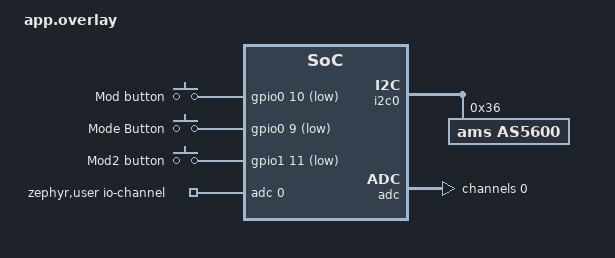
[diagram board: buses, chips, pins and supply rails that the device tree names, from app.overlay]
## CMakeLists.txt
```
# SPDX-License-Identifier: Apache-2.0

cmake_minimum_required(VERSION 3.20.0)

find_package(Zephyr REQUIRED HINTS $ENV{ZEPHYR_BASE})
project(knob)

include(${ZEPHYR_BASE}/samples/subsys/usb/common/common.cmake)
target_sources(app PRIVATE
    src/main.c
    src/hid.c
    src/as5600.c
    src/bluetooth.c
)
```

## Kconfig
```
# Copyright 2023 Google LLC
# SPDX-License-Identifier: Apache-2.0
source "${ZEPHYR_BASE}/samples/subsys/usb/common/Kconfig.sample_usbd"
mainmenu "Bluetooth: Peripheral HIDs"

config SAMPLE_BT_USE_AUTHENTICATION
	bool "Enable passkey authentication"
	default y
	help
	  Enable the passkey authentication callback and register the GATT
	  read and write attributes as authentication required.

config KNOBLET_BT_CLEAR_BONDS_ON_START
	bool "force clear bluetooth bonds"
	default n

config KNOBLET_SAVE_MADE_STATE
	bool "save the current mode state to persist on restart"
	default n

config KNOBLET_ENABLE_MACRO_MODE
	bool "enable a 3rd mode state for macro integration (requires the desktop app)"
	default n

source "Kconfig.zephyr"
```

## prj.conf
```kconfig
# Increased stack due to settings API usage
CONFIG_SYSTEM_WORKQUEUE_STACK_SIZE=4096
CONFIG_BT_RX_STACK_SIZE=4096


# Bluetooth
CONFIG_BT=y
CONFIG_BT_SMP=y
CONFIG_BT_SMP_SC_PAIR_ONLY=n
CONFIG_BT_SMP_APP_PAIRING_ACCEPT=y
CONFIG_BT_SMP_ENFORCE_MITM=n

CONFIG_BT_PERIPHERAL=y

CONFIG_BT_DIS=y
CONFIG_BT_DIS_PNP_PID=0x615E
CONFIG_BT_DIS_PNP_VID=0x1D50
CONFIG_BT_DIS_MODEL_NUMBER=y
CONFIG_BT_DIS_MANUF_NAME_STR="Knoblet"

CONFIG_BT_BAS=y
CONFIG_BT_DEVICE_NAME="Knoblet"
CONFIG_BT_DEVICE_APPEARANCE=962

CONFIG_BT_MAX_PAIRED=5
CONFIG_BT_KEYS_OVERWRITE_OLDEST=y
CONFIG_BT_BONDABLE=y
CONFIG_BT_PRIVACY=n

CONFIG_BT_PERIPHERAL_PREF_MIN_INT=6
CONFIG_BT_PERIPHERAL_PREF_MAX_INT=12
CONFIG_BT_PERIPHERAL_PREF_LATENCY=0
CONFIG_BT_PERIPHERAL_PREF_TIMEOUT=400

CONFIG_BT_GATT_CACHING=y
CONFIG_BT_GATT_SERVICE_CHANGED=y

CONFIG_KNOBLET_BT_CLEAR_BONDS_ON_START=n


# Logging
CONFIG_LOG=y
CONFIG_LOG_DEFAULT_LEVEL=3
CONFIG_LOG_MAX_LEVEL=3


# Settings
CONFIG_BT_SETTINGS=y
CONFIG_FLASH=y
CONFIG_FLASH_MAP=y
CONFIG_NVS=y
CONFIG_SETTINGS=y


# Gpio
CONFIG_GPIO=y
CONFIG_INPUT=y


# fix bootloader offset
CONFIG_FLASH_LOAD_OFFSET=0x1000
CONFIG_BOARD_HAS_NRF5_BOOTLOADER=y
CONFIG_USE_DT_CODE_PARTITION=n


# AS5600 sensor
CONFIG_SENSOR=y
CONFIG_AMS_AS5600=y
CONFIG_I2C=y


# Battery
CONFIG_ADC=y
CONFIG_ADC_NRFX_SAADC=y


# Power Management
CONFIG_BT_CTLR_TX_PWR_MINUS_20=y
CONFIG_PM=y
CONFIG_PM_DEVICE=y


# Debug
CONFIG_FAULT_DUMP=2


# Macro mode
CONFIG_KNOBLET_ENABLE_MACRO_MODE=y
```

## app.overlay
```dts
/ {
	hid_dev_0: hid_dev_0 {
		compatible = "zephyr,hid-device";
		label = "HID0";
		protocol-code = "none";
		in-polling-period-us = <1000>;
		in-report-size = <64>;
	};

	gpio_keys {
		compatible = "gpio-keys";

		button0: button_0 {
			label = "Mod button";
			gpios = <&gpio0 10 (GPIO_PULL_UP | GPIO_ACTIVE_LOW)>;
			zephyr,code = <INPUT_KEY_0>;
		};

		button1: button_1 {
			label = "Mode Button";
			gpios = <&gpio0 9 (GPIO_PULL_UP | GPIO_ACTIVE_LOW)>;
			zephyr,code = <INPUT_KEY_1>;
		};

		button2: button_2 {
			label = "Mod2 button";
			gpios = <&gpio1 11 (GPIO_PULL_UP | GPIO_ACTIVE_LOW)>;
			zephyr,code = <INPUT_KEY_2>;
		};
	};

	zephyr,user {
		io-channels = <&adc 0>;
	};
};

&i2c0 {
	status = "okay";
	
	as5600@36 {
		compatible = "ams,as5600";
		reg = <0x36>;
	};
};

&adc {
	#address-cells = <1>;
	#size-cells = <0>;

	channel@0 {
		reg = <0>;
		zephyr,gain = "ADC_GAIN_1_6";
		zephyr,reference = "ADC_REF_INTERNAL";
		zephyr,acquisition-time = <ADC_ACQ_TIME_DEFAULT>;
		zephyr,input-positive = <NRF_SAADC_VDDHDIV5>;
		zephyr,resolution = <12>;
	};
};
```

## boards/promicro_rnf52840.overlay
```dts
&i2c0 {
	status = "okay";
	
	as5600@36 {
		compatible = "ams,as5600";
		reg = <0x36>;
	};
};
```

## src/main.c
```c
#include <zephyr/sys/printk.h>
#include <zephyr/device.h>
#include <zephyr/drivers/regulator.h>
#include <zephyr/input/input.h>
#include <zephyr/settings/settings.h>
#include <zephyr/drivers/gpio.h>
#include <zephyr/kernel.h>

#include "main.h"
#include "hid.h"
#include "bt.h"
#include "as5600.h"
#include "battery.h"
#include "zephyr/init.h"
#include "zephyr/logging/log.h"


static void scroll_action(int16_t angle);
static void media_action(int16_t angle);
#if defined CONFIG_KNOBLET_ENABLE_MACRO_MODE
static void macro_action(int8_t button_idx, int8_t button_state, int16_t angle);
#endif
static void button_input_cb(struct input_event *evt, void *user_data);
static void trigger_media_event(uint16_t media_event);
static void init_settings();
static void submit_report(const char *trigger_name, const uint16_t size, const uint8_t *const report);


int current_mode = MODE_SCROLL;
int mod_btn_pressed = 0;

int64_t last_seek_time = 0;
int64_t last_mod_up_time = 0;


devices device_state = {
	.as5600 = DEVICE_DT_GET_ANY(ams_as5600),
};

static const struct gpio_dt_spec vcc_enable = {
    .port = DEVICE_DT_GET(DT_NODELABEL(gpio0)),
    .pin = 13,
    .dt_flags = GPIO_ACTIVE_HIGH,
};


LOG_MODULE_REGISTER(main, LOG_LEVEL_DBG);
INPUT_CALLBACK_DEFINE(NULL, button_input_cb, NULL);


SYS_INIT(bt_init, APPLICATION, 1);


int main(void)
{
	int err;

	gpio_pin_configure_dt(&vcc_enable, GPIO_OUTPUT_ACTIVE);

#if defined CONFIG_KNOBLET_SAVE_MODE_STATE
	init_settings();
#endif

	err = init_battery_level();
	if (err) {
		LOG_ERR("Failed to init battery report loop");
	}

	err = as5600_init(device_state.as5600);
	if (err != 0) {
		return err;
	}

	while (true) {
		if (as5600_jitter_compensation_enabled()) {
			k_msleep(AS5600_JITTER_DELAY_MS);
		} else {
			k_msleep(current_mode == MODE_SCROLL ? SCROLL_POLL_DELAY : MEDIA_POLL_DELAY);
		}

		int16_t angle = as5600_read(device_state.as5600);

		switch (current_mode) {
		case MODE_SCROLL:
			scroll_action(angle);
			break;
		case MODE_MEDIA:
			media_action(angle);
			break;
#if defined CONFIG_KNOBLET_ENABLE_MACRO_MODE
		case MODE_MACRO:
			macro_action(0, 0, angle);
			break;
#endif
		};
	}

	return 0;
}


static void init_settings()
{
	int size = settings_load_one(SETTINGS_MODE, &current_mode, sizeof(current_mode));
	current_mode %= MODE_COUNT;

	if (size < 0) {
		LOG_ERR("failed to load mode from settings");
	}
}


/**
 * @brief scroll_action handles sending an angle event to the host when in scroll mode
 *
 * @param[in] angle the angle of change
 */
static void scroll_action(int16_t angle)
{
	if (angle == 0) {
		return;
	}

	uint8_t report[MOUSE_REPORT_SIZE] = {0};
	report[MOUSE_REPORT_IDX] = MOUSE_REPORT_ID;
	report[MOUSE_ANGLE_IDX] = angle;

	submit_report("hid scroll", MOUSE_REPORT_SIZE, report);
}


/**
 * @brief media_action handles sending an angle event to the host when in media mode
 *
 * @param[in] angle the angle of change
 */
static void media_action(int16_t angle)
{
	uint8_t report[MEDIA_REPORT_SIZE];
	report[MEDIA_REPORT_IDX] = MEDIA_REPORT_ID;
	
	if (angle == 0) {
		return;
	}

	// After we skip the track we want to debounce for a short period so we
	// don't accidentally skip multiple tracks or change the volume as we
	// release the press.
	// The debounce time is purely set based on when the skip happens.
	int64_t now = k_uptime_get();
	if (now < last_seek_time + MEDIA_DEBOUNCE_TIME) {
		if (mod_btn_pressed) {
			last_seek_time = now;
		}
		return;
	}

	if (mod_btn_pressed) {
		last_seek_time = now;

		trigger_media_event(angle > 0
			? HID_MEDIA_SCAN_NEXT
			: HID_MEDIA_SCAN_PREV
		);
		return;
	}

	trigger_media_event(angle > 0
		? HID_MEDIA_VOL_UP
		: HID_MEDIA_VOL_DONW
	);
}


#if defined CONFIG_KNOBLET_ENABLE_MACRO_MODE
/**
 * @brief macro_action handles sending all input to the desktop application when in macro mode
 *
 * @param[in] button_idx the current button being pressed/released (0 = no button)
 * @param[in] button_state the current state of the button in question
 * @param[in] angle the angle of change
 */
static void macro_action(int8_t button_idx, int8_t button_state, int16_t angle)
{
	if (angle == 0 && button_idx == 0) {
		return;
	}

	uint8_t report[MACRO_REPORT_SIZE];
	report[MACRO_REPORT_IDX] = MACRO_REPORT_ID;
	report[MACRO_KEY_IDX] = button_idx;
	report[MACRO_KEY_STATE_IDX] = button_state;
	report[MACRO_ANGLE_HIGH_IDX] = angle >> 8;
	report[MACRO_ANGLE_LOW_IDX] = angle & 0xFF;


	LOG_INF("macro angle %d", angle);
	submit_report("macro", MACRO_REPORT_SIZE, report);
}
#endif


/**
 * @brief button_input_cb hadles button presses when the evnt is sent from the zephyr
 *        input subsystem
 *
 * @param[in] evt the input event
 * @param[in] user_data the user data for the event
 */
static void button_input_cb(struct input_event *evt, void *user_data)
{
	LOG_INF("button pressed %d", evt->code);

	if (evt->sync == 0) {
		return;
	}

	if (evt->code == BTN_MODE_CODE) {
		if (evt->value != 0) {
			return;
		}

		current_mode = (current_mode + 1) % MODE_COUNT;

	#if defined CONFIG_KNOBLET_SAVE_MODE_STATE
		int err = settings_save_one(SETTINGS_MODE, &current_mode, sizeof(current_mode));
		if (err != 0) {
			LOG_ERR("Failed to save mode to settings");
		}
	#endif

		LOG_INF("Set mode to %s", current_mode == MODE_SCROLL ? "scroll" : "media");
		return;
	}

	if (evt->code != BTN_MOD_CODE && evt->code != BTN_MOD2_CODE) {
		return;
	}

	mod_btn_pressed = evt->value;
	switch (current_mode) {
	case MODE_MEDIA:
		if (evt->value) {
			return;
		}

		int64_t now = k_uptime_get();
		if (last_mod_up_time + MEDIA_DOUBLE_TAP_INTERVAL > now) {
			last_mod_up_time = 0;

			trigger_media_event(HID_MEDIA_PLAY_PAUSE);
			return;
		}

		last_mod_up_time = now;
		break;

	case MODE_SCROLL:
		uint8_t report[KEEB_REPORT_SIZE] = {0};
		report[KEEB_REPORT_IDX] = KEEB_REPORT_ID;
		report[KEEB_MODIFIER_IDX] = evt->value
			? HID_KBD_MODIFIER_LEFT_CTRL
			: HID_KBD_MODIFIER_NONE;

		submit_report("hid keeyboard",KEEB_REPORT_SIZE, report);
		break;

#if defined CONFIG_KNOBLET_ENABLE_MACRO_MODE
	case MODE_MACRO:
		macro_action(evt->code, evt->value, 0);
		break;
#endif
	}
}


/**
 * @brief submit_report submits a HID report to the host via the bluetooth subsystem
 *
 * @param[in] trigger_name display name for the log
 * @param[in] size the report size
 * @param[in] report the report data
 */
static void submit_report(
	const char *trigger_name,
	const uint16_t size,
	const uint8_t *const report
) {
	if (!bt_connected()) {
		return;
	}

	int err = bt_submit_report(size, report);
	if (err) {
		LOG_ERR("failed to send %s event: %d", trigger_name, err);
		return;
	}

	LOG_DBG("%s event sent", trigger_name);
}


/**
 * @brief trigger_media_event builds and sends a HID media event to the bluetooth
*         subsystem for both the keydown and keyup states
 *
 * @param[in] media_event the media event type to be triggered
 */
static void trigger_media_event(uint16_t media_event)
{
	uint8_t report[MEDIA_REPORT_SIZE] = {0};
	report[MEDIA_REPORT_IDX] = MEDIA_REPORT_ID;
	report[MEDIA_ACTION_LOW_IDX]  = media_event & 0xFF;
	report[MEDIA_ACTION_HIGH_IDX] = media_event >> 8;

	submit_report("media down", MEDIA_REPORT_SIZE, report);

	k_msleep(1);

	report[MEDIA_ACTION_LOW_IDX]  = 0;
	report[MEDIA_ACTION_HIGH_IDX] = 0;

	submit_report("media up", MEDIA_REPORT_SIZE, report);
}
```

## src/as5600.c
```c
#include "as5600.h"

#include <zephyr/drivers/sensor.h>
#include <zephyr/logging/log.h>


LOG_MODULE_REGISTER(as5600, LOG_LEVEL_DBG);


int16_t prev_pos;
int16_t prev_delta;
int16_t jitter_count;


int as5600_read(const struct device *dev)
{
	int err = sensor_sample_fetch(dev);
	if (err) {
		LOG_DBG("Sample fetch failed: %d", err);
		return 0;
	}

	struct as5600_dev_data *dev_data = dev->data;
	int16_t delta = dev_data->position - prev_pos;
	prev_pos = dev_data->position;

	if (delta > 2048) {
		delta -= 4096;
	} else if (delta < -2048) {
		delta += 4096;
	}

#if defined AS5600_JITTER_COMPENSATION
	if (delta == 0) {
		return 0;
	}

	if (as5600_jitter_compensation_enabled()) {
		if (delta <= AS5600_JITTER_DEAD_ZONE && delta >= -AS5600_JITTER_DEAD_ZONE) {
			LOG_DBG("jitter compensated");
			return 0;
		}

		jitter_count = 0;

	#if defined AS5600_JITTER_POST_RESULT
		return delta > 0
			? AS5600_JITTER_POST_RESULT
			: -AS5600_JITTER_POST_RESULT;
	#endif
	}

	if (prev_delta == -delta) {
		jitter_count++;
	}
#endif

#if defined AS5600_DEAD_ZONE
	if (delta <= AS5600_DEAD_ZONE && delta >= -AS5600_DEAD_ZONE) {
		LOG_DBG("DEAD ZONE %d", delta);
		return 0;
	}
#endif

	prev_delta = delta;

	return delta;
}


int as5600_init(const struct device* dev) {
	if (dev == NULL) {
		LOG_ERR("AS5600 not found");
		return -ENODEV;
	}

	LOG_DBG("AS5600 found");

	// setup the rotation sensor
	if (!device_is_ready(dev)) {
		LOG_ERR("AS5600 not ready\n");
		return -EIO;
	}

	LOG_DBG("AS5600 ready");

	return 0;
}


bool as5600_jitter_compensation_enabled()
{
	return jitter_count >= AS5600_JITTER_THRESHOLD;
}
```

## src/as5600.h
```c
#pragma once


#include <zephyr/usb/usbd.h>


// In some cases if the magnet is not 100% aligned to the sensor then in some
// orientations the dial will output a steady stream of 1, -1, 1, -1
// Enabling JITTER_COMPENSATION will help to account for this
#define AS5600_JITTER_COMPENSATION
#define AS5600_JITTER_THRESHOLD 4
#define AS5600_JITTER_DEAD_ZONE 1
// the amount of time in ms to sleep between reads when jitter compensation is
// enabled this allows for a larger accumulation of angle to avoid jitter
// control being "sticky"
#define AS5600_JITTER_DELAY_MS 80
// when defined this will replace the accumulated value for the first return
// after jitter compensation is broken
// the sign used will come from the sign of the real accumulated value
#define AS5600_JITTER_POST_RESULT 1


// in the case where jitter control doesn't cut it we can set a deadzone
// any angle smaller <= the dead zone will be ignored
// its a far from ideal solution as it hinders the operation and makes
// the dial less sensitive
//#define AS5600_DEAD_ZONE 1


struct as5600_dev_data {
	int16_t position;
};


/**
 * @brief as5600_init initializes the sensor device
 *
 * @param[in] dev the device struct
 *
 * @return error code
 */
int as5600_init(const struct device* dev);

// Read the angle change from the sensor since the last read
/**
 * @brief as5600_read reads the angle change from the sensor since the last read
 *
 * @param[in] dev the device struct
 *
 * @return error code
 */
int as5600_read(const struct device *dev);

/**
 * @brief as5600_jitter_compensation_enabled returns the current state of jitter compensation
 *
 * @return the current jitter state
 */
bool as5600_jitter_compensation_enabled();
```

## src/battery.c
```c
#include <zephyr/kernel.h>
#include <zephyr/sys/util.h>
#include <zephyr/bluetooth/services/bas.h>
#include <zephyr/device.h>
#include <zephyr/drivers/adc.h>

#include "battery.h"


static void update_cb(struct k_work *work);
static int read_battery_percent();


static const struct adc_dt_spec adc_channel = ADC_DT_SPEC_GET(DT_PATH(zephyr_user));
static K_WORK_DELAYABLE_DEFINE(battery_update_work, update_cb);


int init_battery_level()
{
	int err = k_work_schedule(&battery_update_work, K_NO_WAIT);
	if (err <= 1) {
		return 0;
	}

	return err;
};


static void update_cb(struct k_work *work)
{
	int level = read_battery_percent();
	if (level >= 0) {
		bt_bas_set_battery_level(level);
	}

	k_work_schedule(&battery_update_work, K_SECONDS(BAS_POLL_INTERVAL_S));
}


static int read_battery_percent()
{
	int16_t sample;
	int32_t mv;

	struct adc_sequence seq = {
		.buffer = &sample,
		.buffer_size = sizeof(sample),
	};

	adc_sequence_init_dt(&adc_channel, &seq);
	adc_channel_setup_dt(&adc_channel);
	adc_read(adc_channel.dev, &seq);

	mv = sample;
	adc_raw_to_millivolts(adc_ref_internal(adc_channel.dev), ADC_GAIN_1_6, 12, &mv);
	mv *= BAS_VOLTAGE_DIVIDER;

	if (mv > BAS_USB_CONNECTED_MV) {
		return -1;
	}

	mv = CLAMP(mv, BAS_CLAMP_MIN, BAS_CLAMP_MAX);
	return (mv - BAS_CLAMP_MIN) * 100 / (BAS_CLAMP_MAX - BAS_CLAMP_MIN);
}
```

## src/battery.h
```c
#define BAS_CLAMP_MAX 4200
#define BAS_CLAMP_MIN 3000
#define BAS_USB_CONNECTED_MV 4400
#define BAS_VOLTAGE_DIVIDER 5
#define BAS_POLL_INTERVAL_S 300

/**
 * @brief init_battery_level initializes the periodic task to update the host with the devices battery level
 *
 * @return error code
 */
int init_battery_level();
```

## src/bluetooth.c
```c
#include "hid.h"

#include <zephyr/types.h>
#include <zephyr/drivers/gpio.h>
#include <stddef.h>
#include <string.h>
#include <zephyr/sys/printk.h>
#include <zephyr/sys/byteorder.h>
#include <zephyr/kernel.h>

#include <zephyr/settings/settings.h>
#include <zephyr/bluetooth/bluetooth.h>
#include <zephyr/bluetooth/hci.h>
#include <zephyr/bluetooth/conn.h>
#include <zephyr/bluetooth/uuid.h>
#include <zephyr/bluetooth/gatt.h>
#include <zephyr/logging/log.h>


LOG_MODULE_REGISTER(bluetooth, LOG_LEVEL_DBG);


enum {
	HIDS_REMOTE_WAKE = BIT(0),
	HIDS_NORMALLY_CONNECTABLE = BIT(1),
};


struct hids_info {
	uint16_t version; /* version number of base USB HID Specification */
	uint8_t code; /* country HID Device hardware is localized for. */
	uint8_t flags;
} __packed;

struct hids_report {
	uint8_t id; /* report id */
	uint8_t type; /* report type */
} __packed;

static struct hids_info info = {
	.version = 0x0000,
	.code = 0x00,
	.flags = HIDS_NORMALLY_CONNECTABLE,
};


enum {
	HIDS_INPUT = 0x01,
	HIDS_OUTPUT = 0x02,
	HIDS_FEATURE = 0x03,
};


static struct hids_report input = {
	.id = 0x01,
	.type = HIDS_INPUT,
};

static uint8_t simulate_input;
static uint8_t ctrl_point;
static bool is_connected;


static ssize_t read_info(
	struct bt_conn *conn,
	const struct bt_gatt_attr *attr,
	void *buf,
	uint16_t len,
	uint16_t offset
) {
	return bt_gatt_attr_read(conn, attr, buf, len, offset, attr->user_data, sizeof(struct hids_info));
}


static ssize_t read_report_map(
	struct bt_conn *conn,
	const struct bt_gatt_attr *attr,
	void *buf,
	uint16_t len,
	uint16_t offset
) {
	return bt_gatt_attr_read(conn, attr, buf, len, offset, hid_report_desc, sizeof(hid_report_desc));
}


static ssize_t read_report(
	struct bt_conn *conn,
	const struct bt_gatt_attr *attr,
	void *buf,
	uint16_t len,
	uint16_t offset
) {
	return bt_gatt_attr_read(conn, attr, buf, len, offset, attr->user_data, sizeof(struct hids_report));
}


static void input_ccc_changed(const struct bt_gatt_attr *attr, uint16_t value)
{
	simulate_input = (value == BT_GATT_CCC_NOTIFY) ? 1 : 0;
}


static ssize_t read_input_report(
	struct bt_conn *conn,
	const struct bt_gatt_attr *attr,
	void *buf,
	uint16_t len,
	uint16_t offset
) {
	return bt_gatt_attr_read(conn, attr, buf, len, offset, NULL, 0);
}


static ssize_t write_ctrl_point(
	struct bt_conn *conn,
	const struct bt_gatt_attr *attr,
	const void *buf, uint16_t len,
	uint16_t offset,
	uint8_t flags
) {
	uint8_t *value = attr->user_data;

	if (offset + len > sizeof(ctrl_point)) {
		return BT_GATT_ERR(BT_ATT_ERR_INVALID_OFFSET);
	}

	memcpy(value + offset, buf, len);

	return len;
}


#if CONFIG_SAMPLE_BT_USE_AUTHENTICATION
/* Require encryption using authenticated link-key. */
#define SAMPLE_BT_PERM_READ BT_GATT_PERM_READ_AUTHEN
#define SAMPLE_BT_PERM_WRITE BT_GATT_PERM_WRITE_AUTHEN
#else
/* Require encryption. */
#define SAMPLE_BT_PERM_READ BT_GATT_PERM_READ_ENCRYPT
#define SAMPLE_BT_PERM_WRITE BT_GATT_PERM_WRITE_ENCRYPT
#endif


/* HID Service Declaration */
BT_GATT_SERVICE_DEFINE(hog_svc,
	BT_GATT_PRIMARY_SERVICE(BT_UUID_HIDS),
	BT_GATT_CHARACTERISTIC(
		BT_UUID_HIDS_INFO,
		BT_GATT_CHRC_READ,
		BT_GATT_PERM_READ,
		read_info,
		NULL,
		&info
	),
	BT_GATT_CHARACTERISTIC(
		BT_UUID_HIDS_REPORT_MAP, BT_GATT_CHRC_READ,
		BT_GATT_PERM_READ,
		read_report_map,
		NULL,
		NULL
	),
	BT_GATT_CHARACTERISTIC(
		BT_UUID_HIDS_REPORT,
		BT_GATT_CHRC_READ | BT_GATT_CHRC_NOTIFY,
		SAMPLE_BT_PERM_READ,
		read_input_report,
		NULL,
		NULL
	),
	BT_GATT_CCC(
		input_ccc_changed,
		SAMPLE_BT_PERM_READ | SAMPLE_BT_PERM_WRITE
	),
	BT_GATT_DESCRIPTOR(
		BT_UUID_HIDS_REPORT_REF,
		BT_GATT_PERM_READ,
		read_report,
		NULL,
		&input
	),
	BT_GATT_CHARACTERISTIC(
		BT_UUID_HIDS_CTRL_POINT,
		BT_GATT_CHRC_WRITE_WITHOUT_RESP,
		BT_GATT_PERM_WRITE,
		NULL,
		write_ctrl_point,
		&ctrl_point
	),
);


static void hog_init()
{
}


static const struct bt_data ad[] = {
	BT_DATA_BYTES(BT_DATA_FLAGS, (BT_LE_AD_GENERAL | BT_LE_AD_NO_BREDR)),
	BT_DATA_BYTES(BT_DATA_UUID16_ALL,
		      BT_UUID_16_ENCODE(BT_UUID_HIDS_VAL),
		      BT_UUID_16_ENCODE(BT_UUID_BAS_VAL)),
};


static const struct bt_data sd[] = {
	BT_DATA(BT_DATA_NAME_COMPLETE, CONFIG_BT_DEVICE_NAME, sizeof(CONFIG_BT_DEVICE_NAME) - 1),
};


static void connected(struct bt_conn *conn, uint8_t err)
{
	if (err) {
		LOG_ERR("Failed to connect to %s, err 0x%02x %s\n",
			bt_conn_dst_str(conn),
			err,
			bt_hci_err_to_str(err)
	  	);
		return;
	}

	LOG_INF("Connected %s\n", bt_conn_dst_str(conn));

	if (bt_conn_set_security(conn, BT_SECURITY_L2)) {
		LOG_ERR("Failed to set security\n");
		is_connected = false;
	} else {
		is_connected = true;
	}
}


static void disconnected(struct bt_conn *conn, uint8_t reason)
{
	is_connected = false;

	LOG_INF("Disconnected from %s, reason 0x%02x %s\n",
		bt_conn_dst_str(conn),
		reason,
		bt_hci_err_to_str(reason)
	);
}


static void security_changed(
	struct bt_conn *conn,
	bt_security_t level,
	enum bt_security_err err
) {
	if (!err) {
		LOG_INF("Security changed: %s level %u\n", bt_conn_dst_str(conn), level);
	} else {
		LOG_ERR("Security failed: %s level %u err %s(%d)\n",
			bt_conn_dst_str(conn),
			level,
			bt_security_err_to_str(err),
			err
		);
	}
}


BT_CONN_CB_DEFINE(conn_callbacks) = {
	.connected = connected,
	.disconnected = disconnected,
	.security_changed = security_changed,
};


void bt_ready(int err)
{
	LOG_INF("Got to bt_ready");
	return;

	if (err) {
		LOG_ERR("Bluetooth init failed (err %d)\n", err);
		return;
	}

	LOG_INF("Bluetooth initialized\n");

	hog_init();

	if (IS_ENABLED(CONFIG_SETTINGS)) {
		settings_load();
	}

	err = bt_le_adv_start(BT_LE_ADV_CONN_FAST_1, ad, ARRAY_SIZE(ad), sd, ARRAY_SIZE(sd));
	if (err) {
		LOG_ERR("Advertising failed to start (err %d)\n", err);
		return;
	}

	LOG_INF("Advertising successfully started\n");
}


static void auth_passkey_display(struct bt_conn *conn, unsigned int passkey)
{
	LOG_INF("Passkey for %s: %06u\n", bt_conn_dst_str(conn), passkey);
}


static void auth_cancel(struct bt_conn *conn)
{
	LOG_INF("Pairing cancelled: %s\n", bt_conn_dst_str(conn));
}


static struct bt_conn_auth_cb auth_cb_display = {
	.passkey_display = auth_passkey_display,
	.passkey_entry = NULL,
	.cancel = auth_cancel,
};


void bt_register_auth()
{
	if (IS_ENABLED(CONFIG_SAMPLE_BT_USE_AUTHENTICATION)) {
		bt_conn_auth_cb_register(&auth_cb_display);
		printk("Bluetooth authentication callbacks registered.\n");
	}
}


bool bt_connected()
{
	return is_connected;
}

int bt_submit_report(const uint16_t size, const uint8_t *const report)
{
	return bt_gatt_notify(NULL, &hog_svc.attrs[5], report, sizeof(report));
}

int bt_init()
{
	LOG_INF("got to bt_init");
	int err = bt_enable(bt_ready);
	if (err != 0) {
		return err;
	}

	bt_register_auth();
	return 0;
}
```

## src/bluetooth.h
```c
#pragma once


#include <stdbool.h>
#include <stdint.h>


int bt_submit_report(const uint16_t size, const uint8_t *const report);
bool bt_connected();
int bt_init();
```

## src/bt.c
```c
#include <zephyr/types.h>
#include <stddef.h>
#include <string.h>
#include <zephyr/sys/printk.h>
#include <zephyr/sys/byteorder.h>
#include <zephyr/kernel.h>
#include <zephyr/settings/settings.h>
#include <zephyr/bluetooth/bluetooth.h>
#include <zephyr/bluetooth/hci.h>
#include <zephyr/bluetooth/conn.h>
#include <zephyr/bluetooth/uuid.h>
#include <zephyr/bluetooth/gatt.h>
#include <zephyr/bluetooth/services/bas.h>
#include <zephyr/logging/log.h>

#include "bt.h"
#include "hid.h"
#include "hog.h"
#include "zephyr/bluetooth/addr.h"


static void connected(struct bt_conn *conn, uint8_t err);
static void disconnected(struct bt_conn *conn, uint8_t reason);
static void bt_ready(int err);
static void auth_cancel(struct bt_conn *conn);
static void pairing_complete(struct bt_conn *conn, bool bonded);
static void pairing_failed(struct bt_conn *conn, enum bt_security_err reason);
static void security_changed(struct bt_conn *conn, bt_security_t level, enum bt_security_err err);
static void advertise();
static void advertise_worker_cb(struct k_work *work);
static void unpair_worker_cb(struct k_work *work);
static void le_param_updated(struct bt_conn *conn, uint16_t interval, uint16_t latency, uint16_t timeout);
static enum bt_security_err auth_pairing_accept(struct bt_conn *conn, const struct bt_conn_pairing_feat *const feat);
static int notify_report(struct bt_conn *conn, const struct bt_gatt_attr *attr, const void *data, uint16_t len);


LOG_MODULE_REGISTER(bluetooth, LOG_LEVEL_DBG);

K_WORK_DEFINE(advertise_worker, advertise_worker_cb);
K_WORK_DEFINE(unpair_worker, unpair_worker_cb);


static const struct bt_data ad[] = {
    BT_DATA_BYTES(BT_DATA_FLAGS, (BT_LE_AD_GENERAL | BT_LE_AD_NO_BREDR)),
    BT_DATA_BYTES(
        BT_DATA_GAP_APPEARANCE,
        (CONFIG_BT_DEVICE_APPEARANCE & 0xff),
        (CONFIG_BT_DEVICE_APPEARANCE >> 8)
    ),
    BT_DATA_BYTES(
        BT_DATA_UUID16_ALL,
        BT_UUID_16_ENCODE(BT_UUID_HIDS_VAL),
        BT_UUID_16_ENCODE(BT_UUID_BAS_VAL)
    ),
};

static const struct bt_data sd[] = {
	BT_DATA(
		BT_DATA_NAME_COMPLETE,
		CONFIG_BT_DEVICE_NAME,
		sizeof(CONFIG_BT_DEVICE_NAME) - 1
	),
};


static const bt_addr_le_t *unpair_addr;
static struct bt_conn *current_conn;
static bool is_connected;

struct bt_gatt_service_static hog_ctx;


static struct bt_conn_cb conn_cb = {
	.connected = connected,
	.disconnected = disconnected,
	.security_changed = security_changed,
	.le_param_updated = le_param_updated,
};

static struct bt_conn_auth_info_cb auth_info_cb = {
    .pairing_complete = pairing_complete,
    .pairing_failed = pairing_failed,
};

static struct bt_conn_auth_cb auth_cb_display = {
	.pairing_accept = auth_pairing_accept,
	.cancel = auth_cancel,
};


int bt_init()
{
	int err;

	err = bt_enable(bt_ready);
	if (err) {
		return err;
	}

    bt_conn_cb_register(&conn_cb);
    bt_conn_auth_cb_register(&auth_cb_display);
	bt_conn_auth_info_cb_register(&auth_info_cb);

	return 0;
}


bool bt_connected()
{
	return is_connected;
}


int bt_submit_report(const uint16_t size, const uint8_t *const report)
{
	if (!current_conn) {
		return -ENOTCONN;
	}

	uint8_t tmp[size - 1];
	memcpy(tmp, report + 1, size - 1);

	switch (report[0]) {
	case KEEB_REPORT_ID:
		return notify_report(current_conn, &hog_ctx.attrs[BT_KEEB_ATTR_IDX], tmp, size - 1);
	case MOUSE_REPORT_ID:
		return notify_report(current_conn, &hog_ctx.attrs[BT_MOUSE_ATTR_IDX], tmp, size - 1);
	case MEDIA_REPORT_ID:
		return notify_report(current_conn, &hog_ctx.attrs[BT_MEDIA_ATTR_IDX], tmp, size - 1);
	case MACRO_REPORT_ID:
		return notify_report(current_conn, &hog_ctx.attrs[BT_MACRO_ATTR_IDX], tmp, size - 1);
	}

	return 0;
}


static void connected(struct bt_conn *conn, uint8_t err)
{
	if (err) {
		LOG_ERR("Failed to connect to %s, err 0x%02x %s\n",
			bt_conn_dst_str(conn),
			err,
			bt_hci_err_to_str(err)
		);
		return;
	}

	LOG_INF("Connected %s\n", bt_conn_dst_str(conn));

	current_conn = bt_conn_ref(conn);
}


static void disconnected(struct bt_conn *conn, uint8_t reason)
{
	LOG_INF("Disconnected from %s, reason 0x%02x %s\n",
		bt_conn_dst_str(conn),
		reason,
		bt_hci_err_to_str(reason)
	);

	is_connected = false;

	if (current_conn) {
		bt_conn_unref(current_conn);
		current_conn = NULL;
	}

	k_work_submit(&advertise_worker);
}


static void security_changed(
	struct bt_conn *conn,
	bt_security_t level,
	enum bt_security_err err
) {
	if (err) {
		LOG_ERR("Security failed: level %u err=%d", level, (int)err);
		return;
	}

	LOG_INF("Security changed: %s level %u\n", bt_conn_dst_str(conn), level);
	if (level >= BT_SECURITY_L2) {
		is_connected = true;
	}
}


static void bt_ready(int err)
{
	if (err) {
		LOG_ERR("Bluetooth init failed (err %d)\n", err);
		return;
	}

	LOG_INF("Bluetooth initialized\n");

	if (IS_ENABLED(CONFIG_SETTINGS)) {
		settings_load();

#if defined(CONFIG_KNOBLET_BT_CLEAR_BONDS_ON_START)
		LOG_INF("clearing bt pairs");
		bt_unpair(BT_ID_DEFAULT, NULL);
#endif
	}

	hog_ctx = hog_init();

	advertise();
}


static void auth_cancel(struct bt_conn *conn)
{
	LOG_INF("Pairing cancelled: %s\n", bt_conn_dst_str(conn));
}


static void pairing_complete(struct bt_conn *conn, bool bonded)
{
    LOG_INF("Pairing completed. bonded=%d", bonded);
}


static void pairing_failed(struct bt_conn *conn, enum bt_security_err reason)
{
    LOG_ERR("Pairing failed. reason=%d", reason);

	if (reason != 4) {
		return;
	}

	unpair_addr = bt_conn_get_dst(conn);
	k_work_submit(&unpair_worker);
}


static void advertise()
{
	// Don't care if this fails
	bt_le_adv_stop();

	int err = bt_le_adv_start(BT_LE_ADV_CONN_FAST_1, ad, ARRAY_SIZE(ad), sd, ARRAY_SIZE(sd));
	if (err) {
		LOG_ERR("Advertising failed to start (err %d)\n", err);
		return;
	}

	LOG_INF("Advertising successfully started\n");
}


static void advertise_worker_cb(struct k_work *work)
{
    advertise();
}


static void le_param_updated(struct bt_conn *conn, uint16_t interval, uint16_t latency,
                             uint16_t timeout) {
    char addr[BT_ADDR_LE_STR_LEN];

    bt_addr_le_to_str(bt_conn_get_dst(conn), addr, sizeof(addr));

    LOG_DBG("%s: interval %d latency %d timeout %d", addr, interval, latency, timeout);
}


static enum bt_security_err auth_pairing_accept(struct bt_conn *conn, const struct bt_conn_pairing_feat *const feat) {
    struct bt_conn_info info;
    bt_conn_get_info(conn, &info);

    LOG_DBG("role %d", info.role);

    return BT_SECURITY_ERR_SUCCESS;
};


static void unpair_worker_cb(struct k_work *work)
{
	if (unpair_addr == NULL) {
		return;
	}

	LOG_INF("unpairing");
    bt_unpair(BT_ID_DEFAULT, unpair_addr);
	unpair_addr = NULL;
}


static int notify_report(
	struct bt_conn *conn,
	const struct bt_gatt_attr *attr,
	const void *data,
	uint16_t len
) {
	int err = bt_gatt_notify(conn, attr, data, len);
	if (err == -EPERM) {
		bt_conn_set_security(conn, BT_SECURITY_L2);
	}

	return err;
}
```

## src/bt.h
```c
#pragma once

#include <stdbool.h>
#include <stdint.h>


#define BT_KEEB_ATTR_IDX  7
#define BT_MOUSE_ATTR_IDX 11
#define BT_MEDIA_ATTR_IDX 19
#define BT_MACRO_ATTR_IDX 26


/**
 * @brief bt_init initializes the bluetooth subsystem
 *
 * @return error code
 */
int bt_init();

/**
 * @brief bt_connected returns the connection state of the bluetooth connection
 *
 * @return connection state
 */
bool bt_connected();

/**
 * @brief bt_submit_report sends off an HID report to the bluetooth subsystem
 *
 * @param[in] size the size of the report
 * @param[in] report the report bytes
 *
 * @return error code
 */
int bt_submit_report(const uint16_t size, const uint8_t *const report);
```

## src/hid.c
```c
#include "hid.h"

#include <sample_usbd.h>
#include <zephyr/logging/log.h>
#include <zephyr/usb/usbd.h>


LOG_MODULE_REGISTER(mouse, LOG_LEVEL_DBG);


static void hid_iface_ready(const struct device *dev, const bool ready);
static int hid_get_report(
	const struct device *dev,
	const uint8_t type,
	const uint8_t id,
	const uint16_t len,
	uint8_t *const buf
);
static int hid_set_report(
	const struct device *dev,
	const uint8_t type,
	const uint8_t id,
	const uint16_t len,
	const uint8_t *const buf
);


struct hid_device_ops hid_ops = {
	.iface_ready = hid_iface_ready,
	.get_report = hid_get_report,
	.set_report = hid_set_report,
};


static bool hid_is_ready = false;


int hid_init(const struct device *dev, struct usbd_context *ctx) {
	int err;

	if (!device_is_ready(dev)) {
		LOG_ERR("HID Device is not ready");
		return -EIO;
	}

	err = hid_device_register(
		dev,
		hid_report_desc,
		sizeof(hid_report_desc),
		&hid_ops
	);
	if (err != 0) {
		LOG_ERR("Failed to register HID Device, %d", err);
		return err;
	}

	ctx = sample_usbd_init_device(NULL);
	if (ctx == NULL) {
		LOG_ERR("Failed to initialize USB device");
		return -ENODEV;
	}

	err = usbd_enable(ctx);
	if (err != 0) {
		LOG_ERR("Failed to enable device support");
		return err;
	}

	LOG_DBG("USB device support enabled");

	return 0;
}


bool hid_ready()
{
	return hid_is_ready;
}

bool usb_connected()
{
	// TODO: make this actually function
	return true;
}


static void hid_iface_ready(const struct device *dev, const bool ready)
{
	LOG_INF("HID device %s interface is %s",
		 dev->name, ready ? "ready" : "not ready"
	);

	hid_is_ready = ready;
}


static int hid_get_report(
	const struct device *dev,
	const uint8_t type,
	const uint8_t id,
	const uint16_t len,
	uint8_t *const buf
) {
	LOG_INF("GET_REPORT: type=%d, id=%d, len=%d", type, id, len);
	if (type == HID_REPORT_TYPE_FEATURE) {
		buf[0] = 0x0F;
		return 1;
	}

	LOG_WRN("Get Report not implemented, Type %u ID %u", type, id);

	return 0;
}


static int hid_set_report(
	const struct device *dev,
	const uint8_t type,
	const uint8_t id,
	const uint16_t len,
	const uint8_t *const buf
) {
	LOG_INF("got report %d -- %d", buf[0], type);

    if (type == HID_REPORT_TYPE_FEATURE) {
        LOG_INF("Resolution multiplier feature report received: %d", buf[0]);
        return 0;
    }

    return -ENOTSUP;
}
```

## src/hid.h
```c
#pragma once


#include <stdint.h>
#include <zephyr/usb/class/hid.h>


#define KEEB_REPORT_ID   0x01
#define MOUSE_REPORT_ID  0x02
#define MEDIA_REPORT_ID  0x03
#define MACRO_REPORT_ID  0x04

#define HID_MEDIA_SCAN_NEXT  0xB5
#define HID_MEDIA_SCAN_PREV  0xB6
#define HID_MEDIA_PLAY_PAUSE 0xCD
#define HID_MEDIA_VOL_UP     0xE9
#define HID_MEDIA_VOL_DONW   0xEA
#define HID_MEDIA_PAUSE      0xB1

#define HID_LEFT_CTRL 0xE0
#define HID_RIGHT_GUI 0xE7

#define BTN_MODE_CODE 3
#define BTN_MOD_CODE 2
#define BTN_MOD2_CODE 11



static const uint8_t hid_report_desc[] = 	{
	/*
	 * Keyboard
	 */
	HID_USAGE_PAGE(HID_USAGE_GEN_DESKTOP),
	HID_USAGE(HID_USAGE_GEN_DESKTOP_KEYBOARD),
	HID_COLLECTION(HID_COLLECTION_APPLICATION),
		HID_REPORT_ID(KEEB_REPORT_ID),
		
		// Modifier keys
		HID_USAGE_PAGE(HID_USAGE_GEN_KEYBOARD),
		HID_USAGE_MIN8(HID_LEFT_CTRL),
		HID_USAGE_MAX8(HID_RIGHT_GUI),
		HID_LOGICAL_MIN8(0),
		HID_LOGICAL_MAX8(1),
		HID_REPORT_SIZE(1),
		HID_REPORT_COUNT(8),
		HID_INPUT(0x02),  // (Data, Var, Abs)

		// Padding
		HID_REPORT_SIZE(8),
		HID_REPORT_COUNT(1),
		HID_INPUT(0x01), // (Cnst, Ary, Abs)

		// Keypad
		HID_USAGE_PAGE(HID_USAGE_GEN_KEYBOARD),
		HID_REPORT_SIZE(8),
		HID_REPORT_COUNT(6),
		HID_LOGICAL_MIN8(0),
		HID_LOGICAL_MAX8(101),
		HID_USAGE_MIN8(0), // (Reserved)
		HID_USAGE_MAX8(101), // (Keyboard Application)
		HID_INPUT(0x00), // (Data, Ary, Abs)
	HID_END_COLLECTION,

	/*
	 * Mouse
	 */
	HID_USAGE_PAGE(HID_USAGE_GEN_DESKTOP),
	HID_USAGE(HID_USAGE_GEN_DESKTOP_MOUSE),
	HID_COLLECTION(HID_COLLECTION_APPLICATION),
		HID_REPORT_ID(MOUSE_REPORT_ID),
		HID_USAGE(HID_USAGE_GEN_DESKTOP_POINTER),
		HID_COLLECTION(HID_COLLECTION_PHYSICAL),
			// Buttons
			HID_USAGE_PAGE(HID_USAGE_GEN_BUTTON),
			HID_USAGE_MIN8(1),
			HID_USAGE_MAX8(2),
			HID_LOGICAL_MIN8(0),
			HID_LOGICAL_MAX8(1),
			HID_REPORT_SIZE(1),
			HID_REPORT_COUNT(2),
			HID_INPUT(0x02), // (Data, Var, Abs)

			// Padding
			HID_REPORT_SIZE(6),
			HID_REPORT_COUNT(1),
			HID_INPUT(0x03), // (Cnst, Var, Abs)

			// Pointer X,Y
			HID_USAGE_PAGE(HID_USAGE_GEN_DESKTOP),
			HID_USAGE(HID_USAGE_GEN_DESKTOP_X),
			HID_USAGE(HID_USAGE_GEN_DESKTOP_Y),
			HID_LOGICAL_MIN8(-127),
			HID_LOGICAL_MAX8(127),
			HID_REPORT_COUNT(2),
			HID_REPORT_SIZE(8),
			HID_INPUT(0x06), // (Data, Var, Rel)
		HID_END_COLLECTION,

		HID_COLLECTION(HID_COLLECTION_LOGICAL),
			// RESOLUTION_MULTIPLIER
			HID_USAGE_PAGE(HID_USAGE_GEN_DESKTOP),
			HID_USAGE(0x48),
			HID_LOGICAL_MIN8(0),
			HID_LOGICAL_MAX8(15),
			HID_ITEM(HID_ITEM_TAG_PHYSICAL_MIN, HID_ITEM_TYPE_GLOBAL, 1), 1,
			HID_ITEM(HID_ITEM_TAG_PHYSICAL_MAX, HID_ITEM_TYPE_GLOBAL, 1), 16,
			HID_REPORT_SIZE(8),
			HID_REPORT_COUNT(1),
			HID_FEATURE(0x02), // (Data, Var, Abs)

			// Reset
			HID_ITEM(HID_ITEM_TAG_PHYSICAL_MIN, HID_ITEM_TYPE_GLOBAL, 1), 0x00,
			HID_ITEM(HID_ITEM_TAG_PHYSICAL_MAX, HID_ITEM_TYPE_GLOBAL, 1), 0x00,

			// Scroll Position
			HID_USAGE_PAGE(HID_USAGE_GEN_DESKTOP),
			HID_USAGE(HID_USAGE_GEN_DESKTOP_WHEEL),
			HID_LOGICAL_MIN8(-127),
			HID_LOGICAL_MAX8(127),
			HID_REPORT_COUNT(1),
			HID_REPORT_SIZE(8),
			HID_INPUT(0x06), // (Data, Var, Rel)
		HID_END_COLLECTION,
	HID_END_COLLECTION,

	/*
	 * Media Controls
	 */
	HID_USAGE_PAGE(0x0C),
	HID_USAGE(0x01),
	HID_COLLECTION(HID_COLLECTION_APPLICATION),
		HID_REPORT_ID(MEDIA_REPORT_ID),
		HID_LOGICAL_MIN16(0x00, 0x00),
		HID_LOGICAL_MAX16(0xEA, 0x00),
		HID_USAGE_MIN16(0x00, 0x00),
		HID_USAGE_MAX16(0xEA, 0x00),
		HID_REPORT_SIZE(16),
		HID_REPORT_COUNT(1),
		HID_INPUT(0x00),
	HID_END_COLLECTION,
};


enum mouse_report_idx {
	MOUSE_REPORT_IDX,
	MOUSE_BTN_REPORT_IDX,
	MOUSE_X_REPORT_IDX,
	MOUSE_Y_REPORT_IDX,
	MOUSE_ANGLE_IDX,
	MOUSE_REPORT_SIZE,
};

enum keeb_report_idx {
	KEEB_REPORT_IDX,
	KEEB_MODIFIER_IDX,
	KEEB_RESERVED_IDX,
	KEEB_KEY_0_IDX,
	KEEB_KEY_1_IDX,
	KEEB_KEY_2_IDX,
	KEEB_KEY_3_IDX,
	KEEB_KEY_4_IDX,
	KEEB_KEY_5_IDX,
	KEEB_REPORT_SIZE,
};

enum media_report_idx {
	MEDIA_REPORT_IDX,
	MEDIA_ACTION_LOW_IDX,
	MEDIA_ACTION_HIGH_IDX,
	MEDIA_REPORT_SIZE,
};

enum macro_report_idx {
	MACRO_REPORT_IDX,
	MACRO_KEY_IDX,
	MACRO_KEY_STATE_IDX,
	MACRO_ANGLE_HIGH_IDX,
	MACRO_ANGLE_LOW_IDX,
	MACRO_REPORT_SIZE,
};
```

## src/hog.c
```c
/*
 * Copyright (c) 2016 Intel Corporation
 *
 * SPDX-License-Identifier: Apache-2.0
 */

#include <zephyr/types.h>
#include <zephyr/drivers/gpio.h>
#include <stddef.h>
#include <string.h>

#include <zephyr/sys/printk.h>
#include <zephyr/sys/byteorder.h>
#include <zephyr/kernel.h>
#include <zephyr/bluetooth/bluetooth.h>
#include <zephyr/bluetooth/hci.h>
#include <zephyr/bluetooth/conn.h>
#include <zephyr/bluetooth/uuid.h>
#include <zephyr/bluetooth/gatt.h>
#include <zephyr/logging/log.h>

#include "hid.h"
#include "zephyr/bluetooth/att.h"


LOG_MODULE_REGISTER(bt_hog, LOG_LEVEL_DBG);


#define RESOLUTION_MULTIPLIER 0x0F
#define PROTOCOL_MODE 0x01


enum {
	HIDS_REMOTE_WAKE = BIT(0),
	HIDS_NORMALLY_CONNECTABLE = BIT(1),
};

struct hids_info {
	uint16_t version; /* version number of base USB HID Specification */
	uint8_t code; /* country HID Device hardware is localized for. */
	uint8_t flags;
} __packed;

struct hids_report {
	uint8_t id; /* report id */
	uint8_t type; /* report type */
} __packed;

static struct hids_info info = {
	.version = 0x0111,
	.code = 0x00,
	.flags = HIDS_NORMALLY_CONNECTABLE,
};

enum {
	HIDS_INPUT = 0x01,
	HIDS_OUTPUT = 0x02,
	HIDS_FEATURE = 0x03,
};


static struct hids_report keeb_input   = { .id = KEEB_REPORT_ID,  .type = HIDS_INPUT };
static struct hids_report media_input  = { .id = MEDIA_REPORT_ID, .type = HIDS_INPUT };
static struct hids_report mouse_input  = { .id = MOUSE_REPORT_ID, .type = HIDS_INPUT };
static struct hids_report mouse_feat   = { .id = MOUSE_REPORT_ID, .type = HIDS_FEATURE };

static uint8_t mouse_enabled;
static uint8_t keeb_enabled;
static uint8_t media_enabled;
static uint8_t macro_enabled;

static uint8_t ctrl_point;

static uint8_t resolution_multiplier = RESOLUTION_MULTIPLIER;
static uint8_t proto_mode = PROTOCOL_MODE;


static ssize_t read_feature_report(struct bt_conn *conn, const struct bt_gatt_attr *attr, void *buf, uint16_t len, uint16_t offset);
static ssize_t write_feature_report(struct bt_conn *conn, const struct bt_gatt_attr *attr, const void *buf, uint16_t len, uint16_t offset, uint8_t flags);
static ssize_t read_info(struct bt_conn *conn, const struct bt_gatt_attr *attr, void *buf, uint16_t len, uint16_t offset);
static ssize_t read_report_map(struct bt_conn *conn, const struct bt_gatt_attr *attr, void *buf, uint16_t len, uint16_t offset);
static ssize_t read_input_report(struct bt_conn *conn, const struct bt_gatt_attr *attr, void *buf, uint16_t len, uint16_t offset);
static ssize_t read_report(struct bt_conn *conn, const struct bt_gatt_attr *attr, void *buf, uint16_t len, uint16_t offset);
static ssize_t write_ctrl_point(struct bt_conn *conn, const struct bt_gatt_attr *attr, const void *buf, uint16_t len, uint16_t offset, uint8_t flags);
static void mouse_ccc_changed(const struct bt_gatt_attr *attr, uint16_t value);
static void keeb_ccc_changed(const struct bt_gatt_attr *attr, uint16_t value);
static void media_ccc_changed(const struct bt_gatt_attr *attr, uint16_t value);
static void macro_ccc_changed(const struct bt_gatt_attr *attr, uint16_t value);
static ssize_t read_proto_mode(struct bt_conn *conn, const struct bt_gatt_attr *attr, void *buf, uint16_t len, uint16_t offset);
static ssize_t write_proto_mode(struct bt_conn *conn, const struct bt_gatt_attr *attr, const void *buf, uint16_t len, uint16_t offset, uint8_t flags);


/* Require encryption. */
#define SAMPLE_BT_PERM_READ BT_GATT_PERM_READ_ENCRYPT
#define SAMPLE_BT_PERM_WRITE BT_GATT_PERM_WRITE_ENCRYPT

#define MACRO_SERVICE_UUID
#define MACRO_CHARACTERISTIC_UUID

/* UUID's for my custom macro service/characteristic */
#define BT_UUID_MACRO_SERVICE_VAL \
    BT_UUID_128_ENCODE(0xF28EC1C1, 0x7BE9, 0x4776, 0xB063, 0x578239F29BFF)
#define BT_UUID_MACRO_CHARACTERISTIC_VAL \
    BT_UUID_128_ENCODE(0x29389447, 0xCCD7, 0x4E89, 0xB8C6, 0x3437651B5488)

#define BT_UUID_MACRO_SERVICE \
    BT_UUID_DECLARE_128(BT_UUID_MACRO_SERVICE_VAL)
#define BT_UUID_MACRO_CHARACTERISTIC \
    BT_UUID_DECLARE_128(BT_UUID_MACRO_CHARACTERISTIC_VAL)

/* HID Service Declaration */
BT_GATT_SERVICE_DEFINE(hog_svc,
	BT_GATT_PRIMARY_SERVICE(BT_UUID_HIDS),
	BT_GATT_CHARACTERISTIC(
		BT_UUID_HIDS_PROTOCOL_MODE,
		BT_GATT_CHRC_READ | BT_GATT_CHRC_WRITE_WITHOUT_RESP,
		BT_GATT_PERM_READ | BT_GATT_PERM_WRITE,
		read_proto_mode, write_proto_mode, &proto_mode
	),
	BT_GATT_CHARACTERISTIC(
		BT_UUID_HIDS_INFO,
		BT_GATT_CHRC_READ,
		BT_GATT_PERM_READ,
		read_info,
		NULL,
		&info
	),
	BT_GATT_CHARACTERISTIC(
		 BT_UUID_HIDS_REPORT_MAP,
		 BT_GATT_CHRC_READ,
		 BT_GATT_PERM_READ,
		read_report_map,
		NULL,
		NULL
	),

	/* Keyboard */
    BT_GATT_CHARACTERISTIC(
		BT_UUID_HIDS_REPORT,
		BT_GATT_CHRC_READ | BT_GATT_CHRC_NOTIFY,
		SAMPLE_BT_PERM_READ,
		read_input_report,
		NULL,
		NULL
	),
    BT_GATT_CCC(keeb_ccc_changed, SAMPLE_BT_PERM_READ | SAMPLE_BT_PERM_WRITE),
    BT_GATT_DESCRIPTOR(
		BT_UUID_HIDS_REPORT_REF,
		SAMPLE_BT_PERM_READ,
		read_report,
		NULL,
		&keeb_input
	),

    /* Mouse */
    BT_GATT_CHARACTERISTIC(
		BT_UUID_HIDS_REPORT,
		BT_GATT_CHRC_READ | BT_GATT_CHRC_NOTIFY,
		SAMPLE_BT_PERM_READ,
		read_input_report,
		NULL,
		NULL
	),
    BT_GATT_CCC(mouse_ccc_changed, SAMPLE_BT_PERM_READ | SAMPLE_BT_PERM_WRITE),
    BT_GATT_DESCRIPTOR(
		BT_UUID_HIDS_REPORT_REF,
		SAMPLE_BT_PERM_READ,
		read_report,
		NULL,
		&mouse_input
	),
	BT_GATT_CHARACTERISTIC(
        BT_UUID_HIDS_REPORT,
        BT_GATT_CHRC_READ | BT_GATT_CHRC_WRITE,
        SAMPLE_BT_PERM_READ | SAMPLE_BT_PERM_WRITE,
        read_feature_report,
        write_feature_report,
        &resolution_multiplier
    ),
    BT_GATT_DESCRIPTOR(
        BT_UUID_HIDS_REPORT_REF,
        SAMPLE_BT_PERM_READ,
        read_report,
        NULL,
        &mouse_feat
    ),

    /* Media */
    BT_GATT_CHARACTERISTIC(
		 BT_UUID_HIDS_REPORT,
		 BT_GATT_CHRC_READ | BT_GATT_CHRC_NOTIFY,
		 SAMPLE_BT_PERM_READ,
		 read_input_report,
		 NULL,
		 NULL
	),
    BT_GATT_CCC(media_ccc_changed, SAMPLE_BT_PERM_READ | SAMPLE_BT_PERM_WRITE),
    BT_GATT_DESCRIPTOR(
		BT_UUID_HIDS_REPORT_REF,
		SAMPLE_BT_PERM_READ,
		read_report,
		NULL,
		&media_input
	),

	BT_GATT_CHARACTERISTIC(
		BT_UUID_HIDS_CTRL_POINT,
		BT_GATT_CHRC_WRITE_WITHOUT_RESP,
		BT_GATT_PERM_WRITE,
		NULL, write_ctrl_point, &ctrl_point
	),

	/* Custom Macro Service */
	BT_GATT_PRIMARY_SERVICE(BT_UUID_MACRO_SERVICE),
	BT_GATT_CHARACTERISTIC(
		BT_UUID_MACRO_CHARACTERISTIC,
		BT_GATT_CHRC_NOTIFY,
		BT_GATT_PERM_NONE,
		NULL,
		NULL,
		NULL
	),
	BT_GATT_CCC(
		macro_ccc_changed,
		BT_GATT_PERM_READ | BT_GATT_PERM_WRITE
	),
);


static ssize_t read_info(
	struct bt_conn *conn,
	const struct bt_gatt_attr *attr,
	void *buf,
	uint16_t len,
	uint16_t offset
) {
	LOG_INF("Getting to read_info");
    LOG_INF("read_info called, security level: %d", bt_conn_get_security(conn));
	return bt_gatt_attr_read(
		conn,
		attr,
		buf,
		len,
		offset,
		attr->user_data,
		sizeof(struct hids_info)
	);
}


static ssize_t read_report_map(
	struct bt_conn *conn,
	const struct bt_gatt_attr *attr,
	void *buf,
	uint16_t len,
	uint16_t offset
) {
	LOG_INF("Getting to read_report_map");
    LOG_INF("read_report_map called, security level: %d", bt_conn_get_security(conn));
	return bt_gatt_attr_read(
		conn,
		attr,
		buf,
		len,
		offset,
		hid_report_desc,
		sizeof(hid_report_desc)
	);
}

static ssize_t read_report(
	struct bt_conn *conn,
	const struct bt_gatt_attr *attr,
	void *buf,
	uint16_t len,
	uint16_t offset
) {
	LOG_INF("Getting to read_report");
    LOG_INF("read_report called, security level: %d", bt_conn_get_security(conn));
	return bt_gatt_attr_read(
		conn,
		attr,
		buf,
		len,
		offset,
		attr->user_data,
		sizeof(struct hids_report)
	);
}


static void mouse_ccc_changed(const struct bt_gatt_attr *attr, uint16_t value)
{
	mouse_enabled = (value == BT_GATT_CCC_NOTIFY) ? 1 : 0;
	LOG_INF("mouse_ccc_changed %d", mouse_enabled);
}


static void keeb_ccc_changed(const struct bt_gatt_attr *attr, uint16_t value)
{
	keeb_enabled = (value == BT_GATT_CCC_NOTIFY) ? 1 : 0;
	LOG_INF("keeb_ccc_changed %d", keeb_enabled);
}


static void media_ccc_changed(const struct bt_gatt_attr *attr, uint16_t value)
{
	media_enabled = (value == BT_GATT_CCC_NOTIFY) ? 1 : 0;
	LOG_INF("media_ccc_changed %d", media_enabled);
}

static void macro_ccc_changed(const struct bt_gatt_attr *attr, uint16_t value)
{
	macro_enabled = (value == BT_GATT_CCC_NOTIFY) ? 1 : 0;
	LOG_INF("macro_ccc_changed %d", macro_enabled);
}


static ssize_t read_input_report(
	struct bt_conn *conn,
	const struct bt_gatt_attr *attr,
	void *buf,
	uint16_t len,
	uint16_t offset
) {
	LOG_INF("Getting to read_input_report");
    LOG_INF("read_input_report called, security level: %d", bt_conn_get_security(conn));
	return bt_gatt_attr_read(conn, attr, buf, len, offset, NULL, 0);
}


static ssize_t write_ctrl_point(
	struct bt_conn *conn,
	const struct bt_gatt_attr *attr,
	const void *buf,
	uint16_t len,
	uint16_t offset,
	uint8_t flags
) {
	uint8_t *value = attr->user_data;

	if (offset + len > sizeof(ctrl_point)) {
		return BT_GATT_ERR(BT_ATT_ERR_INVALID_OFFSET);
	}

	memcpy(value + offset, buf, len);

	return len;
}


static ssize_t read_feature_report(
	struct bt_conn *conn,
	const struct bt_gatt_attr *attr,
	void *buf,
	uint16_t len,
	uint16_t offset
) {
	LOG_INF("READ_FEATURE: multiplier set to max");
	return bt_gatt_attr_read(
		conn,
		attr,
		buf,
		len,
		offset,
		&resolution_multiplier,
		sizeof(resolution_multiplier)
	);
}


static ssize_t write_feature_report(
	struct bt_conn *conn,
	const struct bt_gatt_attr *attr,
	const void *buf,
	uint16_t len,
	uint16_t offset,
	uint8_t flags
) {
	LOG_INF("WRITE_FEATURE: device reported val(%d) len(%d),", ((const uint8_t*)buf)[0], len);
    return len;
}


const struct bt_gatt_service_static hog_init()
{
	return hog_svc;
}


static ssize_t read_proto_mode(
	struct bt_conn *conn,
	const struct bt_gatt_attr *attr,
	void *buf,
	uint16_t len,
	uint16_t offset
) {
	LOG_INF("write_proto_mode");
    return bt_gatt_attr_read(conn, attr, buf, len, offset, attr->user_data, sizeof(uint8_t));
}


static ssize_t write_proto_mode(
	struct bt_conn *conn,
	const struct bt_gatt_attr *attr,
	const void *buf,
	uint16_t len,
	uint16_t offset,
	uint8_t flags
) {
	LOG_INF("write_proto_mode");
    if (len != 1) return BT_GATT_ERR(BT_ATT_ERR_INVALID_ATTRIBUTE_LEN);
    proto_mode = ((uint8_t *)buf)[0];
    return len;
}
```

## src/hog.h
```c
/**
 * @brief hog_init initializes the bluetuoth gatt service
 */
const struct bt_gatt_service_static hog_init();
```
